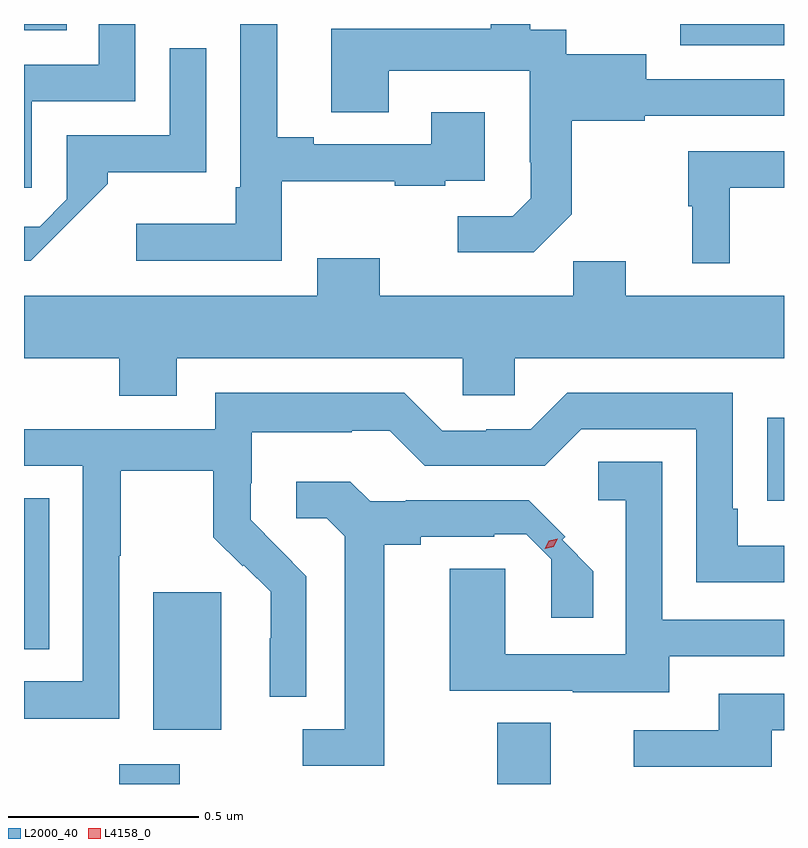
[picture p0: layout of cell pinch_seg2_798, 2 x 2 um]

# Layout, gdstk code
import gdstk
lib = gdstk.Library(unit=1e-6, precision=1e-09)
def R(c, l, rs):  # rectangles x0, y0, x1, y1
    for r in rs: c.add(gdstk.rectangle(r[:2], r[2:], *l))
def P(c, l, *ps):  # polygons
    for p in ps: c.add(gdstk.Polygon(p, *l))
L2000_40 = (2000, 40)
L4158_0 = (4158, 0)

pinch_seg2_798 = lib.new_cell('pinch_seg2_798')
R(pinch_seg2_798, L2000_40, [(731.777,627.867,731.937,627.919), (732.773,627.867,732.913,628.028), (731.867,628.01,732.046,628.371), (731.527,628.222,731.593,628.619), (733.483,628.612,733.527,628.831), (733.254,629.811,733.527,629.867), (731.527,629.85,731.639,629.867)])
P(pinch_seg2_798, L2000_40, [(732.969,629.367),(732.969,629.613),(733.161,629.613),(733.161,629.625),(733.527,629.625),(733.527,629.721),(733.165,629.721),(733.165,629.788),(732.954,629.788),(732.954,629.852),(732.859,629.852),(732.859,629.867),(732.755,629.867),(732.755,629.854),(732.335,629.854),(732.335,629.635),(732.487,629.635),(732.487,629.744),(732.858,629.744),(732.858,629.503),(732.86,629.503),(732.86,629.408),(732.813,629.361),(732.669,629.361),(732.669,629.267),(732.869,629.267)],
  [(732.205,629.453),(732.503,629.453),(732.503,629.442),(732.635,629.442),(732.635,629.454),(732.739,629.454),(732.739,629.635),(732.599,629.635),(732.599,629.55),(732.289,629.55),(732.289,629.569),(732.193,629.569),(732.193,629.867),(732.096,629.867),(732.096,629.437),(732.084,629.437),(732.084,629.341),(731.823,629.341),(731.823,629.244),(732.205,629.244)],
  [(731.547,629.664),(731.82,629.664),(731.82,629.867),(731.724,629.867),(731.724,629.76),(731.527,629.76),(731.527,629.436),(731.547,629.436)],
  [(731.748,629.447),(731.748,629.477),(732.006,629.477),(732.006,629.803),(731.91,629.803),(731.91,629.574),(731.64,629.574),(731.64,629.406),(731.568,629.334),(731.527,629.334),(731.527,629.244),(731.545,629.244)],
  [(733.384,629.436),(733.527,629.436),(733.527,629.532),(733.275,629.532),(733.275,629.388),(733.286,629.388),(733.286,629.237),(733.384,629.237)],
  [(732.463,629.251),(732.299,629.251),(732.299,629.152),(731.527,629.152),(731.527,628.988),(731.777,628.988),(731.777,628.889),(731.929,628.889),(731.929,628.988),(732.681,628.988),(732.681,628.89),(732.819,628.89),(732.819,628.988),(733.527,628.988),(733.527,629.152),(733.111,629.152),(733.111,629.243),(732.973,629.243),(732.973,629.152),(732.463,629.152)],
  [(731.778,628.468),(731.781,628.468),(731.781,628.692),(732.025,628.692),(732.025,628.517),(732.102,628.44),(732.105,628.443),(732.176,628.373),(732.176,628.25),(732.174,628.25),(732.174,628.096),(732.27,628.096),(732.27,628.414),(732.197,628.487),(732.198,628.488),(732.124,628.562),(732.124,628.659),(732.126,628.659),(732.126,628.793),(732.389,628.793),(732.389,628.797),(732.489,628.797),(732.582,628.704),(732.897,628.704),(732.993,628.8),(733.296,628.8),(733.296,628.398),(733.527,628.398),(733.527,628.494),(733.405,628.494),(733.405,628.591),(733.392,628.591),(733.392,628.896),(732.957,628.896),(732.861,628.8),(732.743,628.8),(732.743,628.797),(732.627,628.797),(732.527,628.897),(732.03,628.897),(732.03,628.8),(731.527,628.8),(731.527,628.704),(731.682,628.704),(731.682,628.137),(731.527,628.137),(731.527,628.039),(731.778,628.039)],
  [(733.225,628.203),(733.527,628.203),(733.527,628.299),(733.206,628.299),(733.206,628.715),(733.038,628.715),(733.038,628.614),(733.11,628.614),(733.11,628.209),(732.793,628.209),(732.793,628.433),(732.647,628.433),(732.647,628.113),(732.971,628.113),(732.971,628.109),(733.225,628.109)],
  [(732.475,628.496),(732.571,628.496),(732.571,628.518),(732.764,628.518),(732.764,628.524),(732.849,628.524),(732.915,628.458),(732.915,628.305),(733.025,628.305),(733.025,628.427),(732.943,628.51),(732.951,628.518),(732.855,628.614),(732.532,628.614),(732.532,628.611),(732.438,628.611),(732.386,628.663),(732.243,628.663),(732.243,628.566),(732.324,628.566),(732.371,628.519),(732.371,628.011),(732.261,628.011),(732.261,627.915),(732.475,627.915)],
  [(733.495,628.008),(733.527,628.008),(733.527,628.104),(733.355,628.104),(733.355,628.008),(733.131,628.008),(733.131,627.912),(733.495,627.912)])
P(pinch_seg2_798, L4158_0, [(732.898,628.486),(732.898,628.486),(732.908,628.507),(732.93,628.512),(732.931,628.512),(732.931,628.512),(732.921,628.492),(732.899,628.486)])

lib.write_gds('pinch_seg2_798.gds')
